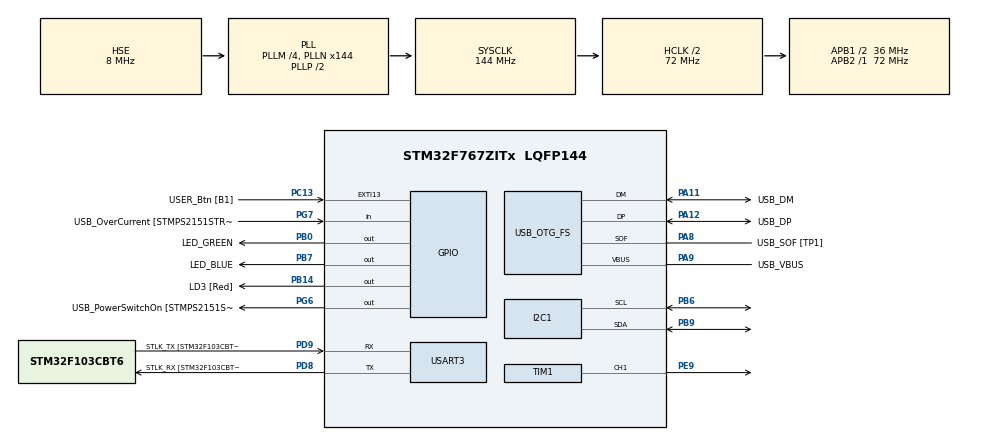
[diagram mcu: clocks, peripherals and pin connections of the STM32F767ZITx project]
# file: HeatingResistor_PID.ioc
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I2C1.Timing=0x00808CD2
Mcu.Family=STM32F7
Mcu.Name=STM32F767ZITx
Mcu.Package=LQFP144
NVIC.PriorityGroup=NVIC_PRIORITYGROUP_4
NVIC.TIM3_IRQn=true\:0\:0\:false\:false\:true\:true\:true\:true
NVIC.USART3_IRQn=true\:0\:0\:false\:false\:true\:true\:true\:true
PA1.GPIO_Label=RMII_REF_CLK [LAN8742A-CZ-TR_REFCLK0]
PA1.Signal=ETH_REF_CLK
PA10.GPIO_Label=USB_ID
PA10.Signal=USB_OTG_FS_ID
PA11.GPIO_Label=USB_DM
PA11.Mode=Device_Only
PA11.Signal=USB_OTG_FS_DM
PA12.GPIO_Label=USB_DP
PA12.Mode=Device_Only
PA12.Signal=USB_OTG_FS_DP
PA13.GPIO_Label=TMS
PA13.Mode=Serial_Wire
PA13.Signal=SYS_JTMS-SWDIO
PA14.GPIO_Label=TCK
PA14.Mode=Serial_Wire
PA14.Signal=SYS_JTCK-SWCLK
PA2.GPIO_Label=RMII_MDIO [LAN8742A-CZ-TR_MDIO]
PA2.Signal=ETH_MDIO
PA7.GPIO_Label=RMII_CRS_DV [LAN8742A-CZ-TR_CRS_DV]
PA7.Signal=ETH_CRS_DV
PA8.GPIO_Label=USB_SOF [TP1]
PA8.Mode=Activate_SOF_FS
PA8.Signal=USB_OTG_FS_SOF
PA9.GPIO_Label=USB_VBUS
PA9.Mode=Activate_VBUS
PA9.Signal=USB_OTG_FS_VBUS
PB0.GPIO_Label=LED_GREEN
PB0.Signal=GPIO_Output
PB13.GPIO_Label=RMII_TXD1 [LAN8742A-CZ-TR_TXD1]
PB13.Signal=ETH_TXD1
PB14.GPIO_Label=LD3 [Red]
PB14.Signal=GPIO_Output
PB3.GPIO_Label=SWO
PB3.Signal=SYS_JTDO-SWO
PB6.Mode=I2C
PB6.Signal=I2C1_SCL
PB7.GPIO_Label=LED_BLUE
PB7.Signal=GPIO_Output
PB9.Mode=I2C
PB9.Signal=I2C1_SDA
PC1.GPIO_Label=RMII_MDC [LAN8742A-CZ-TR_MDC]
PC1.Signal=ETH_MDC
PC13.GPIO_Label=USER_Btn [B1]
PC13.Signal=GPXTI13
PC14/OSC32_IN.Mode=LSE-External-Oscillator
PC14/OSC32_IN.Signal=RCC_OSC32_IN
PC15/OSC32_OUT.Mode=LSE-External-Oscillator
PC15/OSC32_OUT.Signal=RCC_OSC32_OUT
PC4.GPIO_Label=RMII_RXD0 [LAN8742A-CZ-TR_RXD0]
PC4.Signal=ETH_RXD0
PC5.GPIO_Label=RMII_RXD1 [LAN8742A-CZ-TR_RXD1]
PC5.Signal=ETH_RXD1
PD8.GPIO_Label=STLK_RX [STM32F103CBT6_PA3]
PD8.Mode=Asynchronous
PD8.Signal=USART3_TX
PD9.GPIO_Label=STLK_TX [STM32F103CBT6_PA2]
PD9.Mode=Asynchronous
PD9.Signal=USART3_RX
PE9.Signal=S_TIM1_CH1
PG11.GPIO_Label=RMII_TX_EN [LAN8742A-CZ-TR_TXEN]
PG11.Signal=ETH_TX_EN
PG13.GPIO_Label=RMII_TXD0 [LAN8742A-CZ-TR_TXD0]
PG13.Signal=ETH_TXD0
PG6.GPIO_Label=USB_PowerSwitchOn [STMPS2151STR_EN]
PG6.Signal=GPIO_Output
PG7.GPIO_Label=USB_OverCurrent [STMPS2151STR_FAULT]
PG7.Signal=GPIO_Input
PH0/OSC_IN.GPIO_Label=MCO [STM32F103CBT6_PA8]
PH0/OSC_IN.Mode=HSE-External-Oscillator
PH0/OSC_IN.Signal=RCC_OSC_IN
PH1/OSC_OUT.Mode=HSE-External-Oscillator
PH1/OSC_OUT.Signal=RCC_OSC_OUT
ProjectManager.HeapSize=0x200
ProjectManager.StackSize=0x400
ProjectManager.TargetToolchain=STM32CubeIDE
RCC.48MHZClocksFreq_Value=24000000
RCC.AHBCLKDivider=RCC_SYSCLK_DIV2
RCC.AHBFreq_Value=72000000
RCC.APB1CLKDivider=RCC_HCLK_DIV2
RCC.APB1Freq_Value=36000000
RCC.APB1TimFreq_Value=72000000
RCC.APB2Freq_Value=72000000
RCC.APB2TimFreq_Value=72000000
RCC.CortexFreq_Value=72000000
RCC.HCLKFreq_Value=72000000
RCC.HSE_VALUE=8000000
RCC.HSI_VALUE=16000000
RCC.PLLM=4
RCC.PLLMUL=RCC_PLL_MUL9
RCC.PLLN=144
RCC.PLLQ=6
RCC.PRESCALERUSB=RCC_USBCLKSOURCE_PLL_DIV1_5
RCC.SYSCLKFreq_VALUE=144000000
RCC.SYSCLKSource=RCC_SYSCLKSOURCE_PLLCLK
RCC.SYSCLKSourceVirtual=RCC_SYSCLKSOURCE_PLLCLK
RCC.USBFreq_Value=48000000
RCC.VCOOutputFreq_Value=288000000
SH.S_TIM1_CH1.0=TIM1_CH1,PWM Generation1 CH1
TIM1.AutoReloadPreload=TIM_AUTORELOAD_PRELOAD_DISABLE
TIM1.Channel-PWM\ Generation1\ CH1=TIM_CHANNEL_1
TIM1.Period=999
TIM1.Prescaler=71
TIM1.Pulse-PWM\ Generation1\ CH1=1000
TIM1.TIM_MasterOutputTrigger=TIM_TRGO_UPDATE
TIM3.AutoReloadPreload=TIM_AUTORELOAD_PRELOAD_ENABLE
TIM3.Period=7200
TIM3.Prescaler=10000
TIM3.TIM_MasterOutputTrigger=TIM_TRGO_UPDATE
USART3.VirtualMode-Asynchronous=VM_ASYNC
USB_OTG_FS.VirtualMode=Device_Only
VP_TIM1_VS_ClockSourceINT.Mode=Internal
VP_TIM3_VS_ClockSourceINT.Mode=Internal
board=NUCLEO-F767ZI

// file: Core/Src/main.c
/* USER CODE BEGIN Header */
/**
  ******************************************************************************
  * @file           : main.c
  * @brief          : Main program body
  ******************************************************************************
  * @attention
  *
  * Copyright (c) 2023 STMicroelectronics.
  * All rights reserved.
  *
  * This software is licensed under terms that can be found in the LICENSE file
  * in the root directory of this software component.
  * If no LICENSE file comes with this software, it is provided AS-IS.
  *
  ******************************************************************************
  */
/* USER CODE END Header */
#include "main.h"

/* USER CODE BEGIN Includes */
#include "BMPXX80.h"
/* USER CODE END Includes */

I2C_HandleTypeDef hi2c1;

TIM_HandleTypeDef htim1;
TIM_HandleTypeDef htim3;

UART_HandleTypeDef huart3;

PCD_HandleTypeDef hpcd_USB_OTG_FS;

/* USER CODE BEGIN PV */
float temperature_f;
float refTemp =  27.5;

char currentTemperature_ch[24];

int32_t pressure;
int32_t counter = 0;

const float Tp = 1.0f;
const float U_saturation = 1.f;
const uint32_t max_pulse = 999;

float pulse = 1.f;
uint16_t pulseOut = 0;

char get_RX[1];

/* USER CODE END PV */

void SystemClock_Config(void);
static void MX_GPIO_Init(void);
static void MX_USB_OTG_FS_PCD_Init(void);
static void MX_I2C1_Init(void);
static void MX_TIM3_Init(void);
static void MX_USART3_UART_Init(void);
static void MX_TIM1_Init(void);

/* USER CODE BEGIN 0 */

struct PID
{
	float U;
	float Kp;
	float Ki;
	float Kd;
	float error;
	float previousError;
	float previousIn;
	float UP, UD, UI;
	float Tp;
};

struct PID pid;

void calcPID(float desiredTemperature, float currentTemperature, struct PID *PID)
{

	PID->error = desiredTemperature - currentTemperature;

	PID->UP = PID->Kp * PID->error;
	PID->UI = PID->Ki * PID->Tp / 2.0 * (PID->error + PID->previousError) + PID->previousIn;
	PID->UD = PID-> Kd *(PID->error - PID->previousError) / PID->Tp;

	PID->previousError = PID->error;
	PID->previousIn = PID->UI;

	PID->U = PID->UP + PID->UI + PID->UD;

}

/* USER CODE END 0 */

int main(void)
{

  /* MCU Configuration--------------------------------------------------------*/

  /* Reset of all peripherals, Initializes the Flash interface and the Systick. */
  HAL_Init();

  /* Configure the system clock */
  SystemClock_Config();

  /* Initialize all configured peripherals */
  MX_GPIO_Init();
  MX_USB_OTG_FS_PCD_Init();
  MX_I2C1_Init();
  MX_TIM3_Init();
  MX_USART3_UART_Init();
  MX_TIM1_Init();
  /* USER CODE BEGIN 2 */
  BMP280_Init(&hi2c1, BMP280_TEMPERATURE_16BIT, BMP280_STANDARD, BMP280_FORCEDMODE);
  HAL_TIM_PWM_Start(&htim1, TIM_CHANNEL_1);

   pid.U = 0;
   pid.Kp = 0.6674522;
   pid.Ki = 0.0087592;
   pid.Kd = -0.120727;
   pid.error = 0;
   pid.previousError = 0;
   pid.previousIn = 0;
   pid.UP = 0;
   pid.UD = 0;
   pid.UI = 0;
   pid.Tp = 1.f;

  HAL_TIM_Base_Start_IT(&htim3);

  HAL_UART_Receive_IT(&huart3, get_RX, 1);

  /* USER CODE END 2 */

  /* Infinite loop */
  /* USER CODE BEGIN WHILE */
  while (1)
  {
	 HAL_Delay(1);
    /* USER CODE END WHILE */

  }
}

void SystemClock_Config(void)
{
  RCC_OscInitTypeDef RCC_OscInitStruct = {0};
  RCC_ClkInitTypeDef RCC_ClkInitStruct = {0};

  /** Configure LSE Drive Capability
  */
  HAL_PWR_EnableBkUpAccess();

  /** Configure the main internal regulator output voltage
  */
  __HAL_RCC_PWR_CLK_ENABLE();
  __HAL_PWR_VOLTAGESCALING_CONFIG(PWR_REGULATOR_VOLTAGE_SCALE3);

  /** Initializes the RCC Oscillators according to the specified parameters
  * in the RCC_OscInitTypeDef structure.
  */
  RCC_OscInitStruct.OscillatorType = RCC_OSCILLATORTYPE_HSE;
  RCC_OscInitStruct.HSEState = RCC_HSE_ON;
  RCC_OscInitStruct.PLL.PLLState = RCC_PLL_ON;
  RCC_OscInitStruct.PLL.PLLSource = RCC_PLLSOURCE_HSE;
  RCC_OscInitStruct.PLL.PLLM = 4;
  RCC_OscInitStruct.PLL.PLLN = 144;
  RCC_OscInitStruct.PLL.PLLP = RCC_PLLP_DIV2;
  RCC_OscInitStruct.PLL.PLLQ = 6;
  RCC_OscInitStruct.PLL.PLLR = 2;
  if (HAL_RCC_OscConfig(&RCC_OscInitStruct) != HAL_OK)
  {
    Error_Handler();
  }

  /** Initializes the CPU, AHB and APB buses clocks
  */
  RCC_ClkInitStruct.ClockType = RCC_CLOCKTYPE_HCLK|RCC_CLOCKTYPE_SYSCLK
                              |RCC_CLOCKTYPE_PCLK1|RCC_CLOCKTYPE_PCLK2;
  RCC_ClkInitStruct.SYSCLKSource = RCC_SYSCLKSOURCE_PLLCLK;
  RCC_ClkInitStruct.AHBCLKDivider = RCC_SYSCLK_DIV2;
  RCC_ClkInitStruct.APB1CLKDivider = RCC_HCLK_DIV2;
  RCC_ClkInitStruct.APB2CLKDivider = RCC_HCLK_DIV1;

  if (HAL_RCC_ClockConfig(&RCC_ClkInitStruct, FLASH_LATENCY_2) != HAL_OK)
  {
    Error_Handler();
  }
}

static void MX_I2C1_Init(void)
{

  hi2c1.Instance = I2C1;
  hi2c1.Init.Timing = 0x00808CD2;
  hi2c1.Init.OwnAddress1 = 0;
  hi2c1.Init.AddressingMode = I2C_ADDRESSINGMODE_7BIT;
  hi2c1.Init.DualAddressMode = I2C_DUALADDRESS_DISABLE;
  hi2c1.Init.OwnAddress2 = 0;
  hi2c1.Init.OwnAddress2Masks = I2C_OA2_NOMASK;
  hi2c1.Init.GeneralCallMode = I2C_GENERALCALL_DISABLE;
  hi2c1.Init.NoStretchMode = I2C_NOSTRETCH_DISABLE;
  if (HAL_I2C_Init(&hi2c1) != HAL_OK)
  {
    Error_Handler();
  }

  /** Configure Analogue filter
  */
  if (HAL_I2CEx_ConfigAnalogFilter(&hi2c1, I2C_ANALOGFILTER_ENABLE) != HAL_OK)
  {
    Error_Handler();
  }

  /** Configure Digital filter
  */
  if (HAL_I2CEx_ConfigDigitalFilter(&hi2c1, 0) != HAL_OK)
  {
    Error_Handler();
  }

}

static void MX_TIM1_Init(void)
{

  TIM_ClockConfigTypeDef sClockSourceConfig = {0};
  TIM_MasterConfigTypeDef sMasterConfig = {0};
  TIM_OC_InitTypeDef sConfigOC = {0};
  TIM_BreakDeadTimeConfigTypeDef sBreakDeadTimeConfig = {0};

  htim1.Instance = TIM1;
  htim1.Init.Prescaler = 71;
  htim1.Init.CounterMode = TIM_COUNTERMODE_UP;
  htim1.Init.Period = 999;
  htim1.Init.ClockDivision = TIM_CLOCKDIVISION_DIV1;
  htim1.Init.RepetitionCounter = 0;
  htim1.Init.AutoReloadPreload = TIM_AUTORELOAD_PRELOAD_DISABLE;
  if (HAL_TIM_Base_Init(&htim1) != HAL_OK)
  {
    Error_Handler();
  }
  sClockSourceConfig.ClockSource = TIM_CLOCKSOURCE_INTERNAL;
  if (HAL_TIM_ConfigClockSource(&htim1, &sClockSourceConfig) != HAL_OK)
  {
    Error_Handler();
  }
  if (HAL_TIM_PWM_Init(&htim1) != HAL_OK)
  {
    Error_Handler();
  }
  sMasterConfig.MasterOutputTrigger = TIM_TRGO_UPDATE;
  sMasterConfig.MasterOutputTrigger2 = TIM_TRGO2_RESET;
  sMasterConfig.MasterSlaveMode = TIM_MASTERSLAVEMODE_DISABLE;
  if (HAL_TIMEx_MasterConfigSynchronization(&htim1, &sMasterConfig) != HAL_OK)
  {
    Error_Handler();
  }
  sConfigOC.OCMode = TIM_OCMODE_PWM1;
  sConfigOC.Pulse = 1000;
  sConfigOC.OCPolarity = TIM_OCPOLARITY_HIGH;
  sConfigOC.OCNPolarity = TIM_OCNPOLARITY_HIGH;
  sConfigOC.OCFastMode = TIM_OCFAST_DISABLE;
  sConfigOC.OCIdleState = TIM_OCIDLESTATE_RESET;
  sConfigOC.OCNIdleState = TIM_OCNIDLESTATE_RESET;
  if (HAL_TIM_PWM_ConfigChannel(&htim1, &sConfigOC, TIM_CHANNEL_1) != HAL_OK)
  {
    Error_Handler();
  }
  sBreakDeadTimeConfig.OffStateRunMode = TIM_OSSR_DISABLE;
  sBreakDeadTimeConfig.OffStateIDLEMode = TIM_OSSI_DISABLE;
  sBreakDeadTimeConfig.LockLevel = TIM_LOCKLEVEL_OFF;
  sBreakDeadTimeConfig.DeadTime = 0;
  sBreakDeadTimeConfig.BreakState = TIM_BREAK_DISABLE;
  sBreakDeadTimeConfig.BreakPolarity = TIM_BREAKPOLARITY_HIGH;
  sBreakDeadTimeConfig.BreakFilter = 0;
  sBreakDeadTimeConfig.Break2State = TIM_BREAK2_DISABLE;
  sBreakDeadTimeConfig.Break2Polarity = TIM_BREAK2POLARITY_HIGH;
  sBreakDeadTimeConfig.Break2Filter = 0;
  sBreakDeadTimeConfig.AutomaticOutput = TIM_AUTOMATICOUTPUT_DISABLE;
  if (HAL_TIMEx_ConfigBreakDeadTime(&htim1, &sBreakDeadTimeConfig) != HAL_OK)
  {
    Error_Handler();
  }
  HAL_TIM_MspPostInit(&htim1);

}

static void MX_TIM3_Init(void)
{

  TIM_ClockConfigTypeDef sClockSourceConfig = {0};
  TIM_MasterConfigTypeDef sMasterConfig = {0};

  htim3.Instance = TIM3;
  htim3.Init.Prescaler = 10000;
  htim3.Init.CounterMode = TIM_COUNTERMODE_UP;
  htim3.Init.Period = 7200;
  htim3.Init.ClockDivision = TIM_CLOCKDIVISION_DIV1;
  htim3.Init.AutoReloadPreload = TIM_AUTORELOAD_PRELOAD_ENABLE;
  if (HAL_TIM_Base_Init(&htim3) != HAL_OK)
  {
    Error_Handler();
  }
  sClockSourceConfig.ClockSource = TIM_CLOCKSOURCE_INTERNAL;
  if (HAL_TIM_ConfigClockSource(&htim3, &sClockSourceConfig) != HAL_OK)
  {
    Error_Handler();
  }
  sMasterConfig.MasterOutputTrigger = TIM_TRGO_UPDATE;
  sMasterConfig.MasterSlaveMode = TIM_MASTERSLAVEMODE_DISABLE;
  if (HAL_TIMEx_MasterConfigSynchronization(&htim3, &sMasterConfig) != HAL_OK)
  {
    Error_Handler();
  }

}

static void MX_USART3_UART_Init(void)
{

  huart3.Instance = USART3;
  huart3.Init.BaudRate = 115200;
  huart3.Init.WordLength = UART_WORDLENGTH_8B;
  huart3.Init.StopBits = UART_STOPBITS_1;
  huart3.Init.Parity = UART_PARITY_NONE;
  huart3.Init.Mode = UART_MODE_TX_RX;
  huart3.Init.HwFlowCtl = UART_HWCONTROL_NONE;
  huart3.Init.OverSampling = UART_OVERSAMPLING_16;
  huart3.Init.OneBitSampling = UART_ONE_BIT_SAMPLE_DISABLE;
  huart3.AdvancedInit.AdvFeatureInit = UART_ADVFEATURE_NO_INIT;
  if (HAL_UART_Init(&huart3) != HAL_OK)
  {
    Error_Handler();
  }

}

static void MX_USB_OTG_FS_PCD_Init(void)
{

  hpcd_USB_OTG_FS.Instance = USB_OTG_FS;
  hpcd_USB_OTG_FS.Init.dev_endpoints = 6;
  hpcd_USB_OTG_FS.Init.speed = PCD_SPEED_FULL;
  hpcd_USB_OTG_FS.Init.dma_enable = DISABLE;
  hpcd_USB_OTG_FS.Init.phy_itface = PCD_PHY_EMBEDDED;
  hpcd_USB_OTG_FS.Init.Sof_enable = ENABLE;
  hpcd_USB_OTG_FS.Init.low_power_enable = DISABLE;
  hpcd_USB_OTG_FS.Init.lpm_enable = DISABLE;
  hpcd_USB_OTG_FS.Init.vbus_sensing_enable = ENABLE;
  hpcd_USB_OTG_FS.Init.use_dedicated_ep1 = DISABLE;
  if (HAL_PCD_Init(&hpcd_USB_OTG_FS) != HAL_OK)
  {
    Error_Handler();
  }

}

static void MX_GPIO_Init(void)
{
  GPIO_InitTypeDef GPIO_InitStruct = {0};

  /* GPIO Ports Clock Enable */
  __HAL_RCC_GPIOC_CLK_ENABLE();
  __HAL_RCC_GPIOH_CLK_ENABLE();
  __HAL_RCC_GPIOA_CLK_ENABLE();
  __HAL_RCC_GPIOB_CLK_ENABLE();
  __HAL_RCC_GPIOE_CLK_ENABLE();
  __HAL_RCC_GPIOD_CLK_ENABLE();
  __HAL_RCC_GPIOG_CLK_ENABLE();

  /*Configure GPIO pin Output Level */
  HAL_GPIO_WritePin(GPIOB, LED_GREEN_Pin|LD3_Pin|LED_BLUE_Pin, GPIO_PIN_RESET);

  /*Configure GPIO pin Output Level */
  HAL_GPIO_WritePin(USB_PowerSwitchOn_GPIO_Port, USB_PowerSwitchOn_Pin, GPIO_PIN_RESET);

  /*Configure GPIO pin : USER_Btn_Pin */
  GPIO_InitStruct.Pin = USER_Btn_Pin;
  GPIO_InitStruct.Mode = GPIO_MODE_IT_RISING;
  GPIO_InitStruct.Pull = GPIO_NOPULL;
  HAL_GPIO_Init(USER_Btn_GPIO_Port, &GPIO_InitStruct);

  /*Configure GPIO pins : RMII_MDC_Pin RMII_RXD0_Pin RMII_RXD1_Pin */
  GPIO_InitStruct.Pin = RMII_MDC_Pin|RMII_RXD0_Pin|RMII_RXD1_Pin;
  GPIO_InitStruct.Mode = GPIO_MODE_AF_PP;
  GPIO_InitStruct.Pull = GPIO_NOPULL;
  GPIO_InitStruct.Speed = GPIO_SPEED_FREQ_VERY_HIGH;
  GPIO_InitStruct.Alternate = GPIO_AF11_ETH;
  HAL_GPIO_Init(GPIOC, &GPIO_InitStruct);

  /*Configure GPIO pins : RMII_REF_CLK_Pin RMII_MDIO_Pin RMII_CRS_DV_Pin */
  GPIO_InitStruct.Pin = RMII_REF_CLK_Pin|RMII_MDIO_Pin|RMII_CRS_DV_Pin;
  GPIO_InitStruct.Mode = GPIO_MODE_AF_PP;
  GPIO_InitStruct.Pull = GPIO_NOPULL;
  GPIO_InitStruct.Speed = GPIO_SPEED_FREQ_VERY_HIGH;
  GPIO_InitStruct.Alternate = GPIO_AF11_ETH;
  HAL_GPIO_Init(GPIOA, &GPIO_InitStruct);

  /*Configure GPIO pins : LED_GREEN_Pin LD3_Pin LED_BLUE_Pin */
  GPIO_InitStruct.Pin = LED_GREEN_Pin|LD3_Pin|LED_BLUE_Pin;
  GPIO_InitStruct.Mode = GPIO_MODE_OUTPUT_PP;
  GPIO_InitStruct.Pull = GPIO_NOPULL;
  GPIO_InitStruct.Speed = GPIO_SPEED_FREQ_LOW;
  HAL_GPIO_Init(GPIOB, &GPIO_InitStruct);

  /*Configure GPIO pin : RMII_TXD1_Pin */
  GPIO_InitStruct.Pin = RMII_TXD1_Pin;
  GPIO_InitStruct.Mode = GPIO_MODE_AF_PP;
  GPIO_InitStruct.Pull = GPIO_NOPULL;
  GPIO_InitStruct.Speed = GPIO_SPEED_FREQ_VERY_HIGH;
  GPIO_InitStruct.Alternate = GPIO_AF11_ETH;
  HAL_GPIO_Init(RMII_TXD1_GPIO_Port, &GPIO_InitStruct);

  /*Configure GPIO pin : USB_PowerSwitchOn_Pin */
  GPIO_InitStruct.Pin = USB_PowerSwitchOn_Pin;
  GPIO_InitStruct.Mode = GPIO_MODE_OUTPUT_PP;
  GPIO_InitStruct.Pull = GPIO_NOPULL;
  GPIO_InitStruct.Speed = GPIO_SPEED_FREQ_LOW;
  HAL_GPIO_Init(USB_PowerSwitchOn_GPIO_Port, &GPIO_InitStruct);

  /*Configure GPIO pin : USB_OverCurrent_Pin */
  GPIO_InitStruct.Pin = USB_OverCurrent_Pin;
  GPIO_InitStruct.Mode = GPIO_MODE_INPUT;
  GPIO_InitStruct.Pull = GPIO_NOPULL;
  HAL_GPIO_Init(USB_OverCurrent_GPIO_Port, &GPIO_InitStruct);

  /*Configure GPIO pins : RMII_TX_EN_Pin RMII_TXD0_Pin */
  GPIO_InitStruct.Pin = RMII_TX_EN_Pin|RMII_TXD0_Pin;
  GPIO_InitStruct.Mode = GPIO_MODE_AF_PP;
  GPIO_InitStruct.Pull = GPIO_NOPULL;
  GPIO_InitStruct.Speed = GPIO_SPEED_FREQ_VERY_HIGH;
  GPIO_InitStruct.Alternate = GPIO_AF11_ETH;
  HAL_GPIO_Init(GPIOG, &GPIO_InitStruct);

}

/* USER CODE BEGIN 4 */

void HAL_UART_RxCpltCallback(UART_HandleTypeDef *huart)
{
	if (huart->Instance == USART3)
	{
		HAL_GPIO_TogglePin(LED_GREEN_GPIO_Port, LED_GREEN_Pin);

			switch(get_RX[0])
			{
				case 'u':
				{
					refTemp += 0.1;
					break;
				}
				case 'd':
				{
					refTemp -= 0.1;
					break;
				}
			}
		HAL_UART_Receive_IT(&huart3, get_RX, 1);

	}
}

void HAL_TIM_PeriodElapsedCallback(TIM_HandleTypeDef *htim)
{
	if(htim->Instance == TIM3)
	{
		BMP280_ReadTemperatureAndPressure(&temperature_f, &pressure);

		__HAL_TIM_SET_COMPARE(&htim1, TIM_CHANNEL_1, pulseOut);

		if(refTemp < 20.0)
			{
			refTemp = 20.0;
			}
		else if(refTemp > 40.0)
			{
			refTemp = 40.0;
			}

		calcPID(refTemp, temperature_f, &pid);

		pulse = htim1.Init.Period * pid.U;

		if(pulse < 0.0)
			{
			pulseOut = 0;
			}
		else if(pulse > htim1.Init.Period)
			{
			pulseOut = htim1.Init.Period;
			}
		else
			{
			pulseOut = (uint16_t) pulse;
			}

		sprintf(currentTemperature_ch, "%f : %f \n\r", temperature_f, refTemp);
		HAL_UART_Transmit(&huart3, (uint8_t *)currentTemperature_ch,
										sizeof(currentTemperature_ch)-1, 1000);

		HAL_GPIO_TogglePin(LED_BLUE_GPIO_Port, LED_BLUE_Pin);
	}
}

/* USER CODE END 4 */

void Error_Handler(void)
{
  __disable_irq();
  while (1)
  {
  }
}
